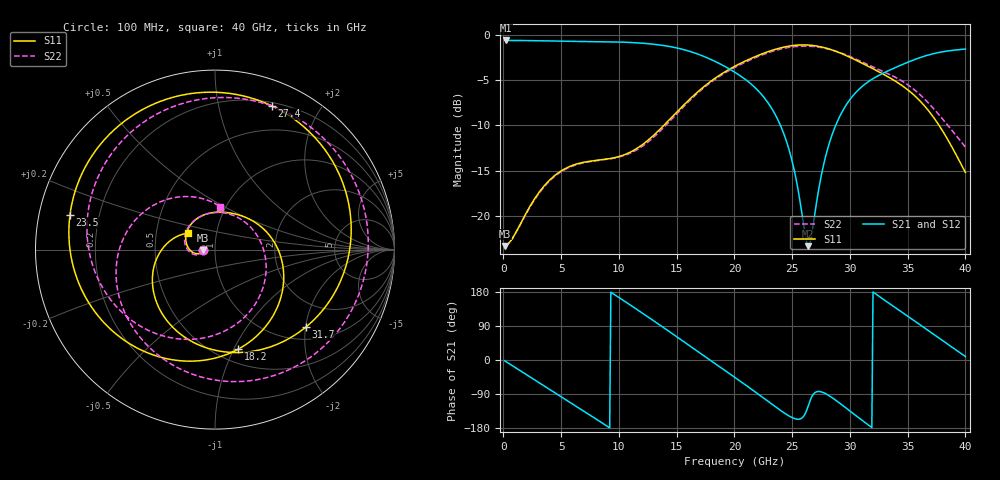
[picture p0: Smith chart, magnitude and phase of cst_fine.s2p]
! B_ts6_L1L3_stub: ThunderScope stack: L1→In2, through via (stub to B.Cu)
! stackup: ThunderScope Rev5.3 6-layer (FR408HR / FR-4, from the board file)
! ports: 1, 2
! CST Studio Suite 2025.5 Release from 2025-05-30, time domain (FIT, hexahedral, PBA), 312480 mesh cells, 50 s
! mesh: {'lpw': 30.0, 'lpb': 30.0, 'minstep': 0.0, 'ratio': 20}; ports: port 1 (face); port 2 (face)
! interpolated from CST's 1001 samples to the case grid
# Hz S RI R 50
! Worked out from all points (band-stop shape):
!   400 points, 100 MHz to 40 GHz, reference 50 ohm
!   highest |S21| = -0.62 dB at 200 MHz (marker M1); lowest = -23.3 dB at 26.4 GHz (marker M2)
!   |S21| within 3 dB of the highest: start of sweep to 19.36 GHz; 33.91 GHz to end of sweep
!   lowest |S11| = -23.3 dB at 100 MHz (marker M3), VSWR 1.15, Z = 43.6 - j0.169 ohm
!   |S11| at or under -10 dB: start of sweep to 13.88 GHz; 37.73 GHz to end of sweep
!   |S22| runs from -23.3 to -1.2 dB; largest |S21 - S12| = 0.0022
!   S11 on the Smith chart (normalised r, x): 100 MHz: 0.87, -0.00; 18.2 GHz: 0.64, -1.04; 23.5 GHz: 0.09, +0.12; 27.4 GHz: 0.23, +1.44; 31.7 GHz: 1.30, -2.01; 40 GHz: 0.73, +0.14
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1e8  -0.0684 -0.00193  0.931 -0.0315  0.9313 -0.0315  -0.0685 -0.00209
2e8  -0.0687 -0.00385  0.9294 -0.063  0.9297 -0.0631  -0.0688 -0.00417
1.8e9  -0.0966 -0.0232  0.7631 -0.5324  0.7629 -0.5325  -0.0942 -0.0282
3.7e9  -0.1505 0.0125  0.2903 -0.88  0.2904 -0.8797  -0.1492 -0.00509
6.8e9  -0.1199 0.1566  -0.6136 -0.6849  -0.6138 -0.6849  -0.1399 0.1369
9.9e9  0.0394 0.2085  -0.8899 0.2068  -0.8898 0.2065  0.0562 0.2034
1.18e10  0.1553 0.1855  -0.5601 0.7067  -0.5603 0.7068  0.208 0.1145
1.34e10  0.272 0.1138  -0.081 0.8781  -0.0807 0.8782  0.2824 -0.0547
1.6e10  0.3788 -0.2107  0.624 0.5256  0.6236 0.5256  0.1305 -0.4057
1.82e10  0.1306 -0.554  0.7148 -0.0862  0.7152 -0.0862  -0.2906 -0.4804
2.01e10  -0.3166 -0.5957  0.4198 -0.4539  0.4194 -0.4542  -0.6352 -0.1963
2.19e10  -0.7033 -0.296  0.0313 -0.5023  0.0314 -0.5019  -0.6871 0.3074
2.35e10  -0.808 0.1938  -0.196 -0.3097  -0.1957 -0.3101  -0.349 0.7411
2.5e10  -0.5641 0.6655  -0.1771 -0.0942  -0.1776 -0.0943  0.2518 0.8203
2.64e10  -0.0713 0.8757  -0.0345 -0.0589  -0.0344 -0.0582  0.7428 0.4449
2.67e10  0.048 0.8739  -0.00962 -0.0788  -0.00927 -0.0783  0.802 0.3206
2.74e10  0.3151 0.8015  0.0178 -0.1517  0.0185 -0.1516  0.8536 0.00819
2.95e10  0.7552 0.1859  -0.213 -0.3308  -0.2138 -0.331  0.3945 -0.677
3.17e10  0.5062 -0.4316  -0.5541 -0.0599  -0.5532 -0.0595  -0.2641 -0.6253
3.34e10  0.101 -0.5733  -0.5483 0.3251  -0.5487 0.324  -0.5162 -0.3185
3.68e10  -0.3486 -0.1563  0.1694 0.7558  0.1709 0.7553  -0.3388 0.2494
4e10  -0.1477 0.0922  0.8245 0.1333  0.8245 0.1355  0.03 0.2382
